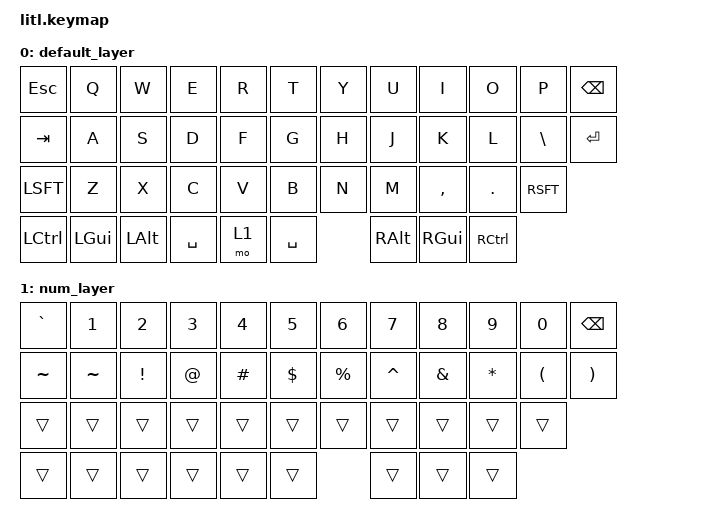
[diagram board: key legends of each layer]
#include <behaviors.dtsi>
#include <dt-bindings/zmk/keys.h>
#include <dt-bindings/zmk/rgb.h>
#include <dt-bindings/zmk/bt.h>
#include <dt-bindings/zmk/outputs.h>
#include <dt-bindings/zmk/ext_power.h>

/ {
	keymap {
		compatible = "zmk,keymap";
		
		default_layer {
			bindings = <
	&kp ESC  &kp   Q   &kp   W   &kp   E   &kp   R   &kp   T   &kp   Y   &kp   U   &kp   I       &kp   O        &kp   P    &kp BSPC                         
	&kp TAB  &kp   A   &kp   S   &kp   D   &kp   F   &kp   G   &kp   H   &kp   J   &kp   K       &kp   L        &kp BSLH   &kp RET
	&kp LSFT &kp   Z   &kp   X   &kp   C   &kp   V   &kp   B   &kp   N   &kp   M   &kp   COMMA   &kp   DOT      &kp RSFT              
	&kp LCTL &kp LGUI  &kp LALT     &kp SPC &mo 1 &kp SPC              &kp RALT      &kp RGUI  &kp RCTL
			>;
		};

		num_layer {
			bindings = <
	&kp GRAVE  &kp N1 &kp N2  &kp N3 &kp N4 &kp N5 &kp N6 &kp N7 &kp N8 &kp N9 &kp N0 &kp BSPC     
	&kp TILDE &kp TILDE &kp EXCL  &kp AT  &kp HASH &kp DLLR &kp PRCNT &kp CARET &kp AMPS &kp STAR  &kp LPAR  &kp  RPAR
	&trans &trans &trans &trans &trans &trans &trans &trans &trans &trans &trans &trans                                      
	&trans &trans &trans &trans &trans &trans &trans    &trans                                            
			>;
		};
	};
};
